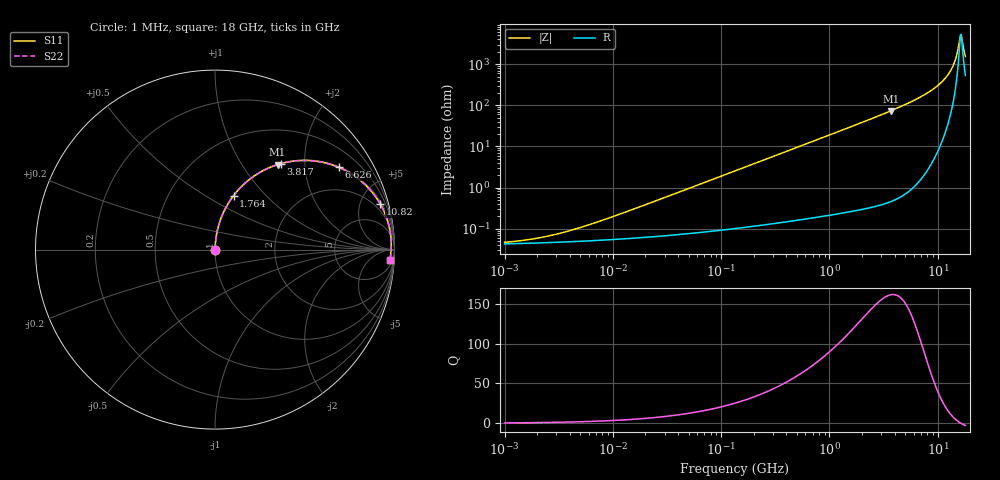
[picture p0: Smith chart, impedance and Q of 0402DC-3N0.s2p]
# MHz  S  MA  R  50
!Freq  MagS11  AngS11  MagS21  AngS21  MagS12  AngS12  MagS22  AngS22
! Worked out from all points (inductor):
!   801 points, 1 MHz to 18 GHz, reference 50 ohm
!   read as one part in series: L = 3 nH near 8.434 MHz
!   highest Q = 161 at 3.68 GHz (marker M1), where L = 3.16 nH
!   self-resonance near 16.21 GHz
!   S11 on the Smith chart (normalised r, x): 1 MHz: 1.00, +0.00; 1.764 GHz: 1.01, +0.67; 3.817 GHz: 1.01, +1.52; 6.626 GHz: 1.03, +2.99; 10.82 GHz: 1.24, +7.24; 18 GHz: 12, -29
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1  0.0004644 23.9  0.9996 -0.0  0.9996 -0.0  0.0004644 23.9
2.272904  0.0006227 43.4  0.9995 -0.0  0.9995 -0.0  0.0006227 43.4
5.166095  0.001091 63.0  0.9995 -0.1  0.9995 -0.1  0.001091 63.0
26.36347  0.005008 82.3  0.9993 -0.3  0.9993 -0.3  0.005008 82.3
134.5374  0.02535 86.3  0.9987 -1.5  0.9987 -1.5  0.02535 86.3
695.0327  0.1299 81.7  0.9897 -7.5  0.9897 -7.5  0.1299 81.7
1763.946  0.3181 71.0  0.9455 -18.5  0.9455 -18.5  0.3181 71.0
2516.671  0.4359 63.8  0.897 -25.8  0.897 -25.8  0.4359 63.8
3546.872  0.5727 54.7  0.8162 -34.9  0.8162 -34.9  0.5727 54.7
3679.695  0.5882 53.6  0.8051 -36.0  0.8051 -36.0  0.5882 53.6
3817.492  0.6038 52.5  0.7934 -37.1  0.7934 -37.1  0.6038 52.5
5060.42  0.7233 43.3  0.6857 -46.3  0.6857 -46.3  0.7233 43.3
6626.328  0.8277 33.6  0.5538 -55.9  0.5538 -55.9  0.8277 33.6
8676.795  0.9102 23.6  0.3999 -65.5  0.3999 -65.5  0.9102 23.6
10818.26  0.9557 15.3  0.2638 -72.8  0.2638 -72.8  0.9557 15.3
12379.42  0.9728 10.3  0.1786 -76.1  0.1786 -76.1  0.9728 10.3
13654.55  0.98 6.6  0.1164 -76.8  0.1164 -76.8  0.98 6.6
14517.37  0.9822 4.4  0.07794 -74.6  0.07794 -74.6  0.9822 4.4
15817.67  0.9824 1.3  0.02792 -50.3  0.02792 -50.3  0.9824 1.3
16210.14  0.9818 0.4  0.01923 -18.7  0.01923 -18.7  0.9818 0.4
16817.18  0.9804 -1.0  0.02582 40.2  0.02582 40.2  0.9804 -1.0
18000  0.9762 -3.4  0.06376 66.4  0.06376 66.4  0.9762 -3.4
